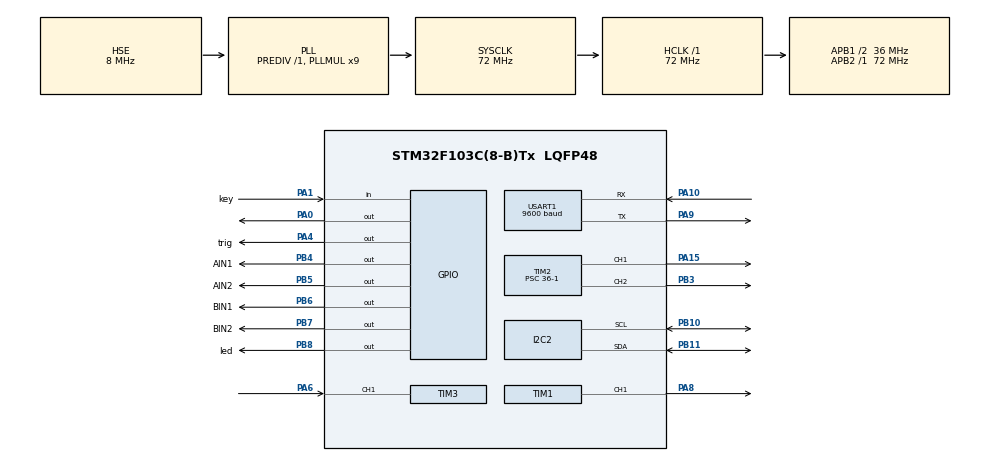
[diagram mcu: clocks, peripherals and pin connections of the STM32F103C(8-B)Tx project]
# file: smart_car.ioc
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I2C2.I2C_Mode=I2C_Fast
Mcu.Family=STM32F1
Mcu.Name=STM32F103C(8-B)Tx
Mcu.Package=LQFP48
NVIC.PriorityGroup=NVIC_PRIORITYGROUP_4
NVIC.USART1_IRQn=true\:0\:0\:false\:false\:true\:true\:true\:true
PA0-WKUP.Signal=GPIO_Output
PA1.GPIO_Label=key
PA1.GPIO_PuPd=GPIO_PULLUP
PA1.Signal=GPIO_Input
PA10.Mode=Asynchronous
PA10.Signal=USART1_RX
PA13.Mode=Serial_Wire
PA13.Signal=SYS_JTMS-SWDIO
PA14.Mode=Serial_Wire
PA14.Signal=SYS_JTCK-SWCLK
PA15.Signal=S_TIM2_CH1_ETR
PA4.GPIO_Label=trig
PA4.Signal=GPIO_Output
PA6.Signal=S_TIM3_CH1
PA8.Signal=S_TIM1_CH1
PA9.Mode=Asynchronous
PA9.Signal=USART1_TX
PB10.Mode=I2C
PB10.Signal=I2C2_SCL
PB11.Mode=I2C
PB11.Signal=I2C2_SDA
PB3.Signal=S_TIM2_CH2
PB4.GPIO_Label=AIN1
PB4.PinState=GPIO_PIN_SET
PB4.Signal=GPIO_Output
PB5.GPIO_Label=AIN2
PB5.Signal=GPIO_Output
PB6.GPIO_Label=BIN1
PB6.PinState=GPIO_PIN_SET
PB6.Signal=GPIO_Output
PB7.GPIO_Label=BIN2
PB7.Signal=GPIO_Output
PB8.GPIO_Label=led
PB8.Signal=GPIO_Output
PD0-OSC_IN.Mode=HSE-External-Oscillator
PD0-OSC_IN.Signal=RCC_OSC_IN
PD1-OSC_OUT.Mode=HSE-External-Oscillator
PD1-OSC_OUT.Signal=RCC_OSC_OUT
ProjectManager.HeapSize=0x200
ProjectManager.StackSize=0x400
ProjectManager.TargetToolchain=MDK-ARM V5.32
RCC.AHBFreq_Value=72000000
RCC.APB1CLKDivider=RCC_HCLK_DIV2
RCC.APB1Freq_Value=36000000
RCC.APB1TimFreq_Value=72000000
RCC.APB2Freq_Value=72000000
RCC.APB2TimFreq_Value=72000000
RCC.HCLKFreq_Value=72000000
RCC.PLLMUL=RCC_PLL_MUL9
RCC.PLLSourceVirtual=RCC_PLLSOURCE_HSE
RCC.SYSCLKFreq_VALUE=72000000
RCC.SYSCLKSource=RCC_SYSCLKSOURCE_PLLCLK
RCC.USBFreq_Value=72000000
SH.S_TIM1_CH1.0=TIM1_CH1,PWM Generation1 CH1
SH.S_TIM2_CH1_ETR.0=TIM2_CH1,PWM Generation1 CH1
SH.S_TIM2_CH2.0=TIM2_CH2,PWM Generation2 CH2
SH.S_TIM3_CH1.0=TIM3_CH1,Input_Capture1_from_TI1
TIM1.AutoReloadPreload=TIM_AUTORELOAD_PRELOAD_ENABLE
TIM1.Channel-PWM\ Generation1\ CH1=TIM_CHANNEL_1
TIM1.Period=1999
TIM1.Prescaler=719
TIM1.Pulse-PWM\ Generation1\ CH1=50
TIM2.AutoReloadPreload=TIM_AUTORELOAD_PRELOAD_ENABLE
TIM2.Channel-PWM\ Generation1\ CH1=TIM_CHANNEL_1
TIM2.Channel-PWM\ Generation2\ CH2=TIM_CHANNEL_2
TIM2.Period=100-1
TIM2.Prescaler=36-1
TIM2.Pulse-PWM\ Generation1\ CH1=0
TIM2.Pulse-PWM\ Generation2\ CH2=0
TIM3.AutoReloadPreload=TIM_AUTORELOAD_PRELOAD_ENABLE
TIM3.Channel-Input_Capture1_from_TI1=TIM_CHANNEL_1
TIM3.Channel-Input_Capture2_from_TI1_63=TIM_CHANNEL_2
TIM3.ICPolarity_CH2=TIM_INPUTCHANNELPOLARITY_FALLING
TIM3.Prescaler=71
USART1.BaudRate=9600
USART1.VirtualMode=VM_ASYNC
VP_TIM1_VS_ClockSourceINT.Mode=Internal
VP_TIM2_VS_ClockSourceINT.Mode=Internal
VP_TIM3_VS_ClockSourceINT.Mode=Internal
VP_TIM3_VS_indirect_ch1.Mode=Input_Capture2_from_TI1_63
board=custom

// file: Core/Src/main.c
/* USER CODE BEGIN Header */
/**
  ******************************************************************************
  * @file           : main.c
  * @brief          : Main program body
  ******************************************************************************
  * @attention
  *
  * Copyright (c) 2025 STMicroelectronics.
  * All rights reserved.
  *
  * This software is licensed under terms that can be found in the LICENSE file
  * in the root directory of this software component.
  * If no LICENSE file comes with this software, it is provided AS-IS.
  *
  ******************************************************************************
  */
/* USER CODE END Header */
#include "main.h"
#include "i2c.h"
#include "tim.h"
#include "usart.h"
#include "gpio.h"

/* USER CODE BEGIN Includes */
#include "sg90.h"
#include "hcsr04.h"
#include "oled.h"
#include "font.h"
#include "string.h"
/* USER CODE END Includes */

/* USER CODE BEGIN PTD */
typedef enum {
    FREE,
    TURN_ON,
    TURN_OFF,
    FRONT,
    BACK,
    RIGHT,
    LEFT,
    STOP,
    AUTO_WALK,
    SEEK_LINE,
		Update_speed,
		Update_distance,
		Update_angle
} CarState;

typedef enum{
	Front_No_barrier,
	Front_Have_barrier,
	Left_No_barrier,
	Left_Have_barrier,
	Right_No_barrier,
	Right_Have_barrier,
	all_Have_barrier
}Barrier_state;

/* USER CODE END PTD */

/* USER CODE BEGIN PV */
uint8_t receivedata[8];
uint8_t auto_state=0;
uint8_t turn_state=0;//按下左右转弯,后退就置1，防止测距小于阈值，循环检测左右转，后退都失效
CarState now_state=FREE;
Barrier_state now_barrier_state=Front_No_barrier;

uint8_t speed=70;
uint8_t distance=20;//cm
uint8_t angle=30;
float one_round_time=2.8;//转一圈时间，现在是speed=70
double measure_distance=1;//cm

/* USER CODE END PV */

void SystemClock_Config(void);
/* USER CODE BEGIN PFP */
CarState check_state(uint8_t receivedata[8]);
/* USER CODE END PFP */

/* USER CODE BEGIN 0 */
void Front(int speed){
		HAL_GPIO_WritePin(AIN1_GPIO_Port,AIN1_Pin,GPIO_PIN_SET);
		HAL_GPIO_WritePin(AIN2_GPIO_Port,AIN2_Pin,GPIO_PIN_RESET);
		HAL_GPIO_WritePin(BIN1_GPIO_Port,BIN1_Pin,GPIO_PIN_SET);
		HAL_GPIO_WritePin(BIN2_GPIO_Port,BIN2_Pin,GPIO_PIN_RESET);
		__HAL_TIM_SetCompare(&htim2,TIM_CHANNEL_1, speed);
		__HAL_TIM_SetCompare(&htim2,TIM_CHANNEL_2, speed);
}

void Left(int speed){
	//turn_state=1;
	HAL_GPIO_WritePin(AIN1_GPIO_Port,AIN1_Pin,GPIO_PIN_RESET);
	HAL_GPIO_WritePin(AIN2_GPIO_Port,AIN2_Pin,GPIO_PIN_SET);
	HAL_GPIO_WritePin(BIN1_GPIO_Port,BIN1_Pin,GPIO_PIN_SET);
	HAL_GPIO_WritePin(BIN2_GPIO_Port,BIN2_Pin,GPIO_PIN_RESET);
	__HAL_TIM_SetCompare(&htim2,TIM_CHANNEL_1, speed);
	__HAL_TIM_SetCompare(&htim2,TIM_CHANNEL_2, speed);
}

void Right(int speed){
	//turn_state=1;
	HAL_GPIO_WritePin(AIN1_GPIO_Port,AIN1_Pin,GPIO_PIN_SET);
	HAL_GPIO_WritePin(AIN2_GPIO_Port,AIN2_Pin,GPIO_PIN_RESET);
	HAL_GPIO_WritePin(BIN1_GPIO_Port,BIN1_Pin,GPIO_PIN_RESET);
	HAL_GPIO_WritePin(BIN2_GPIO_Port,BIN2_Pin,GPIO_PIN_SET);
	__HAL_TIM_SetCompare(&htim2,TIM_CHANNEL_1, speed);
	__HAL_TIM_SetCompare(&htim2,TIM_CHANNEL_2, speed);
}

void Stop(){
	HAL_GPIO_WritePin(AIN1_GPIO_Port,AIN1_Pin,GPIO_PIN_SET);
	HAL_GPIO_WritePin(AIN2_GPIO_Port,AIN2_Pin,GPIO_PIN_RESET);
	HAL_GPIO_WritePin(BIN1_GPIO_Port,BIN1_Pin,GPIO_PIN_SET);
	HAL_GPIO_WritePin(BIN2_GPIO_Port,BIN2_Pin,GPIO_PIN_RESET);
	__HAL_TIM_SetCompare(&htim2,TIM_CHANNEL_1, 0);
	__HAL_TIM_SetCompare(&htim2,TIM_CHANNEL_2, 0);
}

void Back(int speed){
	//turn_state=1;
	HAL_GPIO_WritePin(AIN1_GPIO_Port,AIN1_Pin,GPIO_PIN_RESET);
	HAL_GPIO_WritePin(AIN2_GPIO_Port,AIN2_Pin,GPIO_PIN_SET);
	HAL_GPIO_WritePin(BIN1_GPIO_Port,BIN1_Pin,GPIO_PIN_RESET);
	HAL_GPIO_WritePin(BIN2_GPIO_Port,BIN2_Pin,GPIO_PIN_SET);
	__HAL_TIM_SetCompare(&htim2,TIM_CHANNEL_1,speed);
	__HAL_TIM_SetCompare(&htim2,TIM_CHANNEL_2, speed);

}

void Turn_On(){
	HAL_TIM_PWM_Start(&htim2,TIM_CHANNEL_1);
	HAL_TIM_PWM_Start(&htim2,TIM_CHANNEL_2);
	HAL_GPIO_WritePin(led_GPIO_Port,led_Pin,GPIO_PIN_SET);
}

void Turn_Off(){
	HAL_TIM_PWM_Stop(&htim2,TIM_CHANNEL_1);
	HAL_TIM_PWM_Stop(&htim2,TIM_CHANNEL_2);
	HAL_GPIO_WritePin(led_GPIO_Port,led_Pin,GPIO_PIN_RESET);
}

//自主行走
void Auto_Walk(){
		//待实现
}

//巡线功能
void Seek_Line(){
		//待实现
}

void OLED_display_update(){
	OLED_NewFrame();
	OLED_PrintString(10,10,"distance:",&font16x16,OLED_COLOR_NORMAL);
	// 同样先转换为字符串
	char numStr[5];
	sprintf(numStr, "%d", (int)measure_distance);
	OLED_PrintString(90,10,numStr,&font16x16,OLED_COLOR_NORMAL);

	switch(now_barrier_state){
		case Front_Have_barrier:{
			OLED_PrintString(10,25,"F_Have",&font16x16,OLED_COLOR_NORMAL);
			break;
		}
		case Front_No_barrier:{
			OLED_PrintString(10,25,"F_No",&font16x16,OLED_COLOR_NORMAL);
			break;
		}
		case Left_Have_barrier:{
			OLED_PrintString(10,25,"L_Have",&font16x16,OLED_COLOR_NORMAL);
			break;
		}
		case Left_No_barrier:{
			OLED_PrintString(10,25,"L_No",&font16x16,OLED_COLOR_NORMAL);
			break;
		}
		case Right_Have_barrier:{
			OLED_PrintString(10,25,"R_Have",&font16x16,OLED_COLOR_NORMAL);
			break;
		}
		case Right_No_barrier:{
			OLED_PrintString(10,25,"R_No",&font16x16,OLED_COLOR_NORMAL);
			break;
		}
		case all_Have_barrier:{
			OLED_PrintString(10,25,"A_Have",&font16x16,OLED_COLOR_NORMAL);
			break;
		}
	}

	char key_state[1];
	sprintf(key_state, "%d", (int)auto_state);
	OLED_PrintString(10,45,"key:",&font16x16,OLED_COLOR_NORMAL);
	OLED_PrintString(50,45,key_state,&font16x16,OLED_COLOR_NORMAL);

	OLED_ShowFrame();
}

void HAL_UART_RxCpltCallback(UART_HandleTypeDef *huart) {
    static uint8_t buffer[8];  // 临时缓冲区
    static uint8_t index = 0;  // 当前写入位置

    // 将新数据存入缓冲区
    buffer[index] = receivedata[0];
    index = (index + 1) % 8;  // 循环写入，防止溢出

    // 检查当前缓冲区是否对齐帧头（0xFF 0xAA）
    for (int i = 0; i < 8; i++) {
        if (buffer[(index + i) % 8] == 0xFF &&
            buffer[(index + i + 1) % 8] == 0xAA) {
            // 找到帧头，复制对齐后的数据到 receivedata
            for (int j = 0; j < 8; j++) {
                receivedata[j] = buffer[(index + i + j) % 8];
            }

            // 处理数据并回传
            now_state = check_state(receivedata);
            HAL_UART_Transmit_IT(&huart1, receivedata, 8);
            break;
        }
    }

    // 继续接收下一字节
    HAL_UART_Receive_IT(&huart1, &receivedata[0], 1);
}
CarState check_state(uint8_t receivedata[8])
{
    // 检查数据头尾是否符合协议规范
    if((receivedata[0] != 0xff) || (receivedata[1] != 0xaa) ||
       (receivedata[6] != 0xfe) || (receivedata[7] != 0xef))
    {
			__HAL_TIM_SetCompare(&htim2,TIM_CHANNEL_1, 0);
			__HAL_TIM_SetCompare(&htim2,TIM_CHANNEL_2, 0);
        return FREE;  // 协议不匹配，返回空闲状态
    }

    uint8_t command_type = receivedata[2];  // 命令类型
    uint8_t data_length = receivedata[3];   // 数据长度

    // 检查数据长度是否有效
    if(data_length > 4 || (4 + data_length) > 8)
    {
			__HAL_TIM_SetCompare(&htim2,TIM_CHANNEL_1, 0);
			__HAL_TIM_SetCompare(&htim2,TIM_CHANNEL_2, 0);
        return FREE;  // 数据长度无效
    }

    switch(command_type)
    {
        case 0x01:  // 电源控制命令
            for(int i = 0; i < data_length; i++)
            {
                switch(receivedata[4 + i])
                {
                    case 0x01: {
											Turn_On();
											return TURN_ON;
										}
                    case 0x02: {
											Turn_Off();
											return TURN_OFF;
										}
                    default: break;
                }
            }
            break;

        case 0x02:  // 运动控制命令
            for(int i = 0; i < data_length; i++)
            {
                switch(receivedata[4 + i])
                {
                    case 0x01: {//直走
											Front(speed);
											return FRONT;
										}
                    case 0x02: {//
											Right(speed);
											return RIGHT;
										}
                    case 0x03: {
											Stop();
											return STOP;
										}
                    case 0x04: {
											Left(speed);
											return LEFT;
										}
                    case 0x05: {
											Back(speed);
											return BACK;
										}
                    default: break;
                }
            }
            break;

        case 0x03:  // 模式控制命令
            for(int i = 0; i < data_length; i++)
            {
                switch(receivedata[4 + i])
                {
                    case 0x01:{
											Auto_Walk();
											return AUTO_WALK;
										}
                    case 0x02:{
											Seek_Line();
											return SEEK_LINE;
										}
                    default: break;
                }
            }
            break;

        case 0x04:  // 速度更新命令
            if(data_length >= 1 )
            {
							speed=receivedata[4];
                return Update_speed;
            }
            break;

        case 0x05:  // 距离更新命令
            if(data_length >= 1 )
            {
							distance=receivedata[4];
                return Update_distance;
            }
            break;

        case 0x06:  // 角度更新命令
            if(data_length >= 1)
            {
							angle=receivedata[4];
                return Update_angle;
            }
            break;

        default:
            break;
    }

    return FREE;  // 默认返回空闲状态
}

//前方障碍物状态，未完全实现
/*
Barrier_state barrier_state(){
	switch(now_barrier_state){
		case Front_Have_barrier:{
			Left(70);
			HAL_Delay((int)one_round_time*1000/360*angle);//2.8是转一圈的时间，按照speed=70测算，如若变化还需重测
			Turn_Off();
			if(measure_distance<distance)
				now_barrier_state=Left_Have_barrier;
			else
				now_barrier_state=Left_No_barrier;
		}
			return now_barrier_state;

		case Front_No_barrier:{
			Front(speed);
			return now_barrier_state;
		}

		case Left_Have_barrier:{
			Right(70);
			HAL_Delay((int)2*one_round_time*1000/360*angle);//已经是左转过的，到右转状态需要先恢复，再转，所以乘2
			Turn_Off();
			if(measure_distance<distance)
				now_barrier_state=Right_Have_barrier;
			else
				now_barrier_state=Right_No_barrier;
		}
			return now_barrier_state;

		case Left_No_barrier:{
			now_barrier_state=Front_No_barrier;
			return now_barrier_state;
		}

		case Right_Have_barrier:{
			now_barrier_state=all_Have_barrier;
			return now_barrier_state;
		}

		case Right_No_barrier:{
			now_barrier_state=Front_No_barrier;
			return now_barrier_state;
		}

		case all_Have_barrier:{
			angle+=15;//多转15°
			now_barrier_state=Front_Have_barrier;
			return now_barrier_state;
		}

	}
}

*/

//小车雷达测距状态更新
/*
void car_visual(){
	hcsr04_start();
	measure_distance=hcsr04_measure();

	measure_distance*=100;//转化cm单位

	if(measure_distance==0){//无效
		measure_distance=999.0;
	}

	OLED_display_update();

	//开启自动行驶才会左右转更新，否则只是测距
	if(auto_state){
		now_barrier_state=barrier_state();
	}
}
*/

/* USER CODE END 0 */

int main(void)
{

  /* MCU Configuration--------------------------------------------------------*/

  /* Reset of all peripherals, Initializes the Flash interface and the Systick. */
  HAL_Init();

  /* Configure the system clock */
  SystemClock_Config();

  /* Initialize all configured peripherals */
  MX_GPIO_Init();
  MX_USART1_UART_Init();
  MX_TIM1_Init();
  MX_TIM3_Init();
  MX_TIM2_Init();
  MX_I2C2_Init();
  /* USER CODE BEGIN 2 */

	HAL_Delay(20);
	OLED_Init();

	/*装上舵机考虑取消注释
	sg90_init();
	set_sg90_degree(0);
	*/

	HAL_UART_Receive_IT(&huart1,receivedata,8);

  /* USER CODE END 2 */

  /* Infinite loop */
  /* USER CODE BEGIN WHILE */
  while (1)
  {
		//自动行驶
		if(HAL_GPIO_ReadPin(key_GPIO_Port,key_Pin)==GPIO_PIN_RESET)
		{
			HAL_Delay(10);
			while(HAL_GPIO_ReadPin(key_GPIO_Port,key_Pin)==GPIO_PIN_RESET);
			HAL_Delay(10);
			auto_state=~auto_state;
			if(auto_state)
				Turn_On();
			else
				Turn_Off();
		}

		//car_visual();

		//距离小于阈值或者测量失败停车
		/*
		if((measure_distance<distance)&&(turn_state==0)){
			HAL_GPIO_WritePin(AIN1_GPIO_Port,AIN1_Pin,GPIO_PIN_RESET);
			HAL_GPIO_WritePin(AIN2_GPIO_Port,AIN2_Pin,GPIO_PIN_RESET);
			HAL_GPIO_WritePin(BIN1_GPIO_Port,BIN1_Pin,GPIO_PIN_RESET);
			HAL_GPIO_WritePin(BIN2_GPIO_Port,BIN2_Pin,GPIO_PIN_RESET);
	}
		*/
    /* USER CODE END WHILE */

  }
}

void SystemClock_Config(void)
{
  RCC_OscInitTypeDef RCC_OscInitStruct = {0};
  RCC_ClkInitTypeDef RCC_ClkInitStruct = {0};

  /** Initializes the RCC Oscillators according to the specified parameters
  * in the RCC_OscInitTypeDef structure.
  */
  RCC_OscInitStruct.OscillatorType = RCC_OSCILLATORTYPE_HSE;
  RCC_OscInitStruct.HSEState = RCC_HSE_ON;
  RCC_OscInitStruct.HSEPredivValue = RCC_HSE_PREDIV_DIV1;
  RCC_OscInitStruct.HSIState = RCC_HSI_ON;
  RCC_OscInitStruct.PLL.PLLState = RCC_PLL_ON;
  RCC_OscInitStruct.PLL.PLLSource = RCC_PLLSOURCE_HSE;
  RCC_OscInitStruct.PLL.PLLMUL = RCC_PLL_MUL9;
  if (HAL_RCC_OscConfig(&RCC_OscInitStruct) != HAL_OK)
  {
    Error_Handler();
  }

  /** Initializes the CPU, AHB and APB buses clocks
  */
  RCC_ClkInitStruct.ClockType = RCC_CLOCKTYPE_HCLK|RCC_CLOCKTYPE_SYSCLK
                              |RCC_CLOCKTYPE_PCLK1|RCC_CLOCKTYPE_PCLK2;
  RCC_ClkInitStruct.SYSCLKSource = RCC_SYSCLKSOURCE_PLLCLK;
  RCC_ClkInitStruct.AHBCLKDivider = RCC_SYSCLK_DIV1;
  RCC_ClkInitStruct.APB1CLKDivider = RCC_HCLK_DIV2;
  RCC_ClkInitStruct.APB2CLKDivider = RCC_HCLK_DIV1;

  if (HAL_RCC_ClockConfig(&RCC_ClkInitStruct, FLASH_LATENCY_2) != HAL_OK)
  {
    Error_Handler();
  }
}

void Error_Handler(void)
{
  __disable_irq();
  while (1)
  {
  }
}
